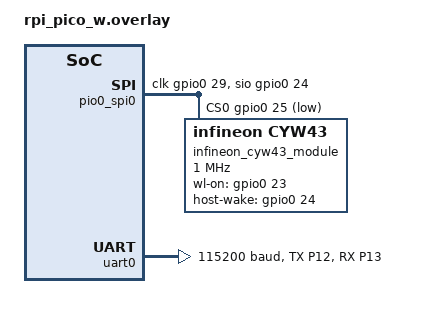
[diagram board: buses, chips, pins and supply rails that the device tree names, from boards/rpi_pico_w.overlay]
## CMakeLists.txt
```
# SPDX-License-Identifier: Apache-2.0

cmake_minimum_required(VERSION 3.20.0)

set_property(GLOBAL APPEND PROPERTY HEX_FILES_TO_MERGE
      ${app_provision_hex})

set(DTS_ROOT_BINDINGS "${CMAKE_CURRENT_SOURCE_DIR}")

#set(BOARD nrf52840dk_nrf52840)
set(BOARD rpi_pico_w)
#set(BOARD xiao_esp32c3)

find_package(Zephyr)
project(peripheral)

include_directories(app PRIVATE inc)

FILE(GLOB app_sources src/*.c)
target_sources(app PRIVATE
  ${app_sources}
  )

add_subdirectory_ifdef(CONFIG_BT_ZEPHYR_CYW43  drivers)

zephyr_compile_options(-save-temps)
```

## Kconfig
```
#
#
#
menu "RPI_PICO_W BT Options"
rsource "drivers/Kconfig"
endmenu

menu "Zephyr"
source "Kconfig.zephyr"
endmenu
```

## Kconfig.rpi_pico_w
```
# Copyright (c) 2024 Callender Consulting LLC.
# SPDX-License-Identifier: Apache-2.0
#

choice BT_HCI_BUS_TYPE
	default BT_PICO_W if BT
endchoice

rsource "./drivers/Kconfig"
```

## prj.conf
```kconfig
#------------------------------------------------

CONFIG_BT=y
CONFIG_BT_PERIPHERAL=y
CONFIG_BT_DIS=y
CONFIG_BT_DIS_PNP=n
CONFIG_BT_BAS=y
CONFIG_BT_DEVICE_APPEARANCE=768
CONFIG_CBPRINTF_FP_SUPPORT=y

CONFIG_BT_DEVICE_NAME="LongRanger"

CONFIG_BT_EXT_ADV=y
CONFIG_BT_USER_PHY_UPDATE=y

#------------------------------------------------
# Logging interface: UART or RTT.
# By default logging will be to UART.
# For RTT logging (JLink or Ozone), uncomment 
# indicated section below.
#
CONFIG_LOG=y
CONFIG_LOG_PRINTK=y

CONFIG_LOG_BACKEND_SHOW_COLOR=n
CONFIG_LOG_BACKEND_FORMAT_TIMESTAMP=n

# Uncomment this section for RTT support
CONFIG_USE_SEGGER_RTT=y
CONFIG_LOG_BACKEND_RTT=y
CONFIG_LOG_BACKEND_UART=n
```

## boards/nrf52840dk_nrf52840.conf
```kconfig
#------------------------------------------------
#CONFIG_BT_CTLR_PHY_CODED=y
#CONFIG_BT_CTLR_ADV_EXT=y
#CONFIG_BT_CTLR_CONN_RSSI=y

#------------------------------------------------
#CONFIG_TEMP_NRF5=y
```

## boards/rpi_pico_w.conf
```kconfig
#
CONFIG_BT_DRIVERS=y
CONFIG_BT_HCI=y
#CONFIG_BT_ZEPHYR_CYW43=y
CONFIG_BT_PICO_W=y
```

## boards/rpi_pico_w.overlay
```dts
/*
 *   RPI_PICO_W configured for BLE
 */

&pinctrl {

  pio0_spi0_default: pio0_spi0_default {
      /* gpio 25 is used for chip select, not assigned to the PIO */
    group1 {
      pinmux = <PIO0_P29>, <PIO0_P23>;
    };
  };

  uart0_default: uart0_default {
    group1 {
      pinmux = <UART0_TX_P12>;  // pin 16, GP12
    };
    group2 {
      pinmux = <UART0_RX_P13>;  // pin 17, GP13
      input-enable;
    };
  };
};

&pio0 {
  status = "okay";

  pio0_spi0: pio0_spi0 {
    pinctrl-0 = <&pio0_spi0_default>;
    pinctrl-names = "default";

    compatible = "custom_raspberrypi,pico-spi-pio";
    status = "okay";
    #address-cells = <1>;
    #size-cells = <0>;
    clocks = < &clk_sys >;
    cs-gpios = <&gpio0 25 GPIO_ACTIVE_LOW>;
    clk-gpios = <&gpio0 29 GPIO_ACTIVE_HIGH>;
    sio-gpios = <&gpio0 24 GPIO_ACTIVE_HIGH>;
    
    infineon_cyw43_module: infineon_cyw43_module@0 {
      compatible = "infineon,cyw43";
      reg = < 0x0 >;
      spi-max-frequency = < 1000000 >;
      wl-on-gpios = < &gpio0 23 GPIO_ACTIVE_HIGH >;
      host-wake-gpios = <&gpio0 24 GPIO_ACTIVE_HIGH>; 

      cyw43_led: cyw43_led {    /* Pico W LED is on CYW43439 GPIO 0 */
        compatible = "infineon,cyw43_led";
      };
      cyw43_gpio: cyw43_gpio {
        compatible = "infineon,cyw43_gpio";
      };
    };
  };
};

&uart0 {
  current-speed = <115200>;
  status = "okay";
  pinctrl-0 = <&uart0_default>;
  pinctrl-names = "default";
};
```

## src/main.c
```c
/* main.c - Application main entry point */

/*
 * Copyright (c) 2019 Aaron Tsui <aaron.tsui@outlook.com>
 *
 * SPDX-License-Identifier: Apache-2.0
 */

#include <zephyr/types.h>
#include <stddef.h>
#include <string.h>
#include <errno.h>
#include <zephyr/sys/printk.h>
#include <zephyr/sys/byteorder.h>
#include <zephyr/kernel.h>

#include <zephyr/bluetooth/bluetooth.h>
#include <zephyr/bluetooth/hci.h>
#include <zephyr/bluetooth/conn.h>
#include <zephyr/bluetooth/uuid.h>
#include <zephyr/bluetooth/gatt.h>
#include <zephyr/bluetooth/services/bas.h>
#include <zephyr/bluetooth/hci_vs.h>

#include "hts.h"

#define LOG_LEVEL 3
#include <zephyr/logging/log.h>
LOG_MODULE_REGISTER(main);

/*---------------------------------------------------------------------------*/
/*                                                                           */
/*---------------------------------------------------------------------------*/

#define DEVICE_NAME             CONFIG_BT_DEVICE_NAME
#define DEVICE_NAME_LEN         (sizeof(DEVICE_NAME) - 1)

static const struct bt_data ad[] = {
	BT_DATA_BYTES(BT_DATA_FLAGS, (BT_LE_AD_GENERAL | BT_LE_AD_NO_BREDR)),
	BT_DATA_BYTES(BT_DATA_UUID16_ALL,
		      BT_UUID_16_ENCODE(BT_UUID_HTS_VAL),
		      BT_UUID_16_ENCODE(BT_UUID_DIS_VAL),
		      BT_UUID_16_ENCODE(BT_UUID_BAS_VAL)),
	BT_DATA(BT_DATA_NAME_COMPLETE, DEVICE_NAME, DEVICE_NAME_LEN)
};

static void start_advertising_coded(struct k_work *work);

static K_WORK_DEFINE(start_advertising_worker, start_advertising_coded);

static struct bt_le_ext_adv *adv;

static struct bt_conn *default_conn;
static uint16_t default_conn_handle;

/*---------------------------------------------------------------------------*/
/*                                                                           */
/*---------------------------------------------------------------------------*/
static void read_conn_rssi(uint16_t handle, int8_t *rssi)
{
	struct net_buf *buf;
	struct net_buf *rsp = NULL;
	struct bt_hci_cp_read_rssi *cp;
	struct bt_hci_rp_read_rssi *rp;

	uint8_t reason;
	int err;

	buf = bt_hci_cmd_create(BT_HCI_OP_READ_RSSI, sizeof(*cp));
	if (!buf) {
		LOG_INF("Unable to allocate command buffer");
		return;
	}

	cp = net_buf_add(buf, sizeof(*cp));
	cp->handle = sys_cpu_to_le16(handle);

	err = bt_hci_cmd_send_sync(BT_HCI_OP_READ_RSSI, buf, &rsp);
	if (err) {
		reason = rsp ? ((struct bt_hci_rp_read_rssi *)rsp->data)->status : 0;
		LOG_INF("Read RSSI err: %d reason 0x%02X", err, reason);
		return;
	}

	rp = (void *)rsp->data;
	*rssi = rp->rssi;

	net_buf_unref(rsp);
}

/*---------------------------------------------------------------------------*/
/*                                                                           */
/*---------------------------------------------------------------------------*/
int8_t get_rssi(void)
{
	int8_t rssi = 0xFF;

	read_conn_rssi(default_conn_handle, &rssi);

	return rssi;
}

/*---------------------------------------------------------------------------*/
/*                                                                           */
/*---------------------------------------------------------------------------*/
static void connected(struct bt_conn * conn, uint8_t conn_err)
{
	int err;
	struct bt_conn_info info;
	char addr[BT_ADDR_LE_STR_LEN];

	if (conn_err) {
		LOG_ERR("Connection failed (err 0x%02X)", conn_err);
		return;
	}

	LOG_INF("Connected");

	default_conn = bt_conn_ref(conn);
	err = bt_hci_get_conn_handle(default_conn, &default_conn_handle);
	if (err) {
		LOG_ERR("No connection handle: %d", err);
	}

	err = bt_conn_get_info(conn, &info);
	if (err) {
		LOG_ERR("Failed to get connection info: %d", err);
	} 
	else {
		const struct bt_conn_le_phy_info *phy_info;
		phy_info = info.le.phy;

		LOG_INF("Connected: %s, tx_phy %u, rx_phy %u",
		       addr, phy_info->tx_phy, phy_info->rx_phy);
	}
}

/*---------------------------------------------------------------------------*/
/*                                                                           */
/*---------------------------------------------------------------------------*/
static void disconnected(struct bt_conn *conn, uint8_t reason)
{
	LOG_WRN("Disconnected (reason 0x%02X)", reason);
}

/*---------------------------------------------------------------------------*/
/*                                                                           */
/*---------------------------------------------------------------------------*/
static void le_phy_updated(struct bt_conn *conn,
			   struct bt_conn_le_phy_info *param)
{
	char addr[BT_ADDR_LE_STR_LEN];

	bt_addr_le_to_str(bt_conn_get_dst(conn), addr, sizeof(addr));

	LOG_INF("LE PHY Updated: %s Tx 0x%X, Rx 0x%X", 
		    addr, param->tx_phy, param->rx_phy);
}

/*---------------------------------------------------------------------------*/
/*                                                                           */
/*---------------------------------------------------------------------------*/

BT_CONN_CB_DEFINE(conn_callbacks) = {
	.connected = connected,
	.disconnected = disconnected,
	.le_phy_updated = le_phy_updated,
};

/*---------------------------------------------------------------------------*/
/*                                                                           */
/*---------------------------------------------------------------------------*/
static int create_advertising_coded(void)
{
	int err;

	struct bt_le_adv_param param =
		BT_LE_ADV_PARAM_INIT(BT_LE_ADV_OPT_CONNECTABLE |
				     BT_LE_ADV_OPT_EXT_ADV |
				     BT_LE_ADV_OPT_CODED,
				     BT_GAP_ADV_FAST_INT_MIN_2,
				     BT_GAP_ADV_FAST_INT_MAX_2,
				     NULL);

	err = bt_le_ext_adv_create(&param, NULL, &adv);
	if (err) {
		LOG_ERR("Failed to create advertiser set: %d", err);
		return err;
	}

	LOG_INF("Created extended advertising");

	err = bt_le_ext_adv_set_data(adv, ad, ARRAY_SIZE(ad), NULL, 0);
	if (err) {
		LOG_ERR("Failed to set advertising data: %d", err);
		return err;
	}

	return 0;
}

/*---------------------------------------------------------------------------*/
/*                                                                           */
/*---------------------------------------------------------------------------*/
static void start_advertising_coded(struct k_work * work)
{
	int err;

	err = bt_le_ext_adv_start(adv, NULL);
	if (err) {
		LOG_ERR("Failed to start advertising set: %d", err);
		return;
	}

	LOG_INF("Advertiser set started");
}

/*---------------------------------------------------------------------------*/
/*                                                                           */
/*---------------------------------------------------------------------------*/
static void bas_notify(void)
{
	uint8_t battery_level = bt_bas_get_battery_level();

	battery_level--;

	if (!battery_level) {
		battery_level = 100U;
	}

	bt_bas_set_battery_level(battery_level);
}

/*---------------------------------------------------------------------------*/
/*                                                                           */
/*---------------------------------------------------------------------------*/
int main(void)
{
	int err;

	err = bt_enable(NULL);
	if (err) {
		LOG_ERR("Bluetooth init failed: %d", err);
		return err;
	}

	err = create_advertising_coded();
	if (err) {
		LOG_ERR("Advertising failed to create: %d", err);
		return err;
	}

	LOG_INF("Bluetooth initialized as Peripheral advertising as \"%s\"",
		    DEVICE_NAME);

	k_work_submit(&start_advertising_worker);

	/* Implement indicate. At the moment there is no suitable way
	 * of starting delayed work so we do it here
	 */
	while (1) {
		k_sleep(K_SECONDS(1));

		/* Temperature measurements simulation */
		hts_indicate();

		/* Battery level simulation */
		bas_notify();
	}
	return 0;
}
```

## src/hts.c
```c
/** @file
 *  @brief HTS Service sample (Long-Range)
 */

/*
 * Copyright (c) 2020 SixOctets Systems
 * Copyright (c) 2019 Aaron Tsui <aaron.tsui@outlook.com>
 *
 * SPDX-License-Identifier: Apache-2.0
 */
#include <stdio.h>
#include <stddef.h>
#include <string.h>
#include <errno.h>

#include <zephyr/kernel.h>
#include <zephyr/drivers/sensor.h>
#include <zephyr/sys/printk.h>
#include <zephyr/sys/byteorder.h>

#include <zephyr/bluetooth/bluetooth.h>
#include <zephyr/bluetooth/hci.h>
#include <zephyr/bluetooth/conn.h>
#include <zephyr/bluetooth/uuid.h>
#include <zephyr/bluetooth/gatt.h>

#define LOG_LEVEL 3
#include <zephyr/logging/log.h>
LOG_MODULE_REGISTER(hts);

/*---------------------------------------------------------------------------*/
/*                                                                           */
/*---------------------------------------------------------------------------*/

#ifdef CONFIG_TEMP_NRF5
static const struct device *temp_dev = DEVICE_DT_GET_ANY(nordic_nrf_temp);
#else
static const struct device *temp_dev;
#endif

static uint8_t simulate_htm;
static uint8_t indicating;
static struct bt_gatt_indicate_params ind_params;

int8_t get_rssi(void);

/*---------------------------------------------------------------------------*/
/*                                                                           */
/*---------------------------------------------------------------------------*/
static void htmc_ccc_cfg_changed(const struct bt_gatt_attr *attr,
				 uint16_t value)
{
	simulate_htm = (value == BT_GATT_CCC_INDICATE) ? 1 : 0;
}

/*---------------------------------------------------------------------------*/
/*                                                                           */
/*---------------------------------------------------------------------------*/
static void indicate_cb(struct bt_conn *conn,
			struct bt_gatt_indicate_params *params, uint8_t err)
{
#if 0
	LOG_INF("Indication %s", err != 0U ? "fail" : "success");
#endif
}

/*---------------------------------------------------------------------------*/
/*                                                                           */
/*---------------------------------------------------------------------------*/
static void indicate_destroy(struct bt_gatt_indicate_params *params)
{
#if 0
	LOG_INF("Indication complete");
#endif	
	indicating = 0U;
}

/*---------------------------------------------------------------------------*/
/*                                                                           */
/*---------------------------------------------------------------------------*/
/* Health Thermometer Service Declaration */
BT_GATT_SERVICE_DEFINE(hts_svc,
	BT_GATT_PRIMARY_SERVICE(BT_UUID_HTS),
	BT_GATT_CHARACTERISTIC(BT_UUID_HTS_MEASUREMENT, BT_GATT_CHRC_INDICATE,
			               BT_GATT_PERM_NONE, NULL, NULL, NULL),
	BT_GATT_CCC(htmc_ccc_cfg_changed,
		        BT_GATT_PERM_READ | BT_GATT_PERM_WRITE),
	/* more optional Characteristics */
);

/*---------------------------------------------------------------------------*/
/*                                                                           */
/*---------------------------------------------------------------------------*/
void hts_init(void)
{
	if (temp_dev == NULL || !device_is_ready(temp_dev)) {
		LOG_INF("no temperature device; using simulated data");
		temp_dev = NULL;
	} else {
		LOG_INF("temp device is %p, name is %s", temp_dev, temp_dev->name);
	}
}

/*---------------------------------------------------------------------------*/
/*                                                                           */
/*---------------------------------------------------------------------------*/
void hts_indicate(void)
{
	/* Temperature measurements simulation */
	struct sensor_value temp_value;

	if (simulate_htm) {
		static uint8_t htm[5];
		static double temperature = 20U;
		uint32_t mantissa;
		uint8_t exponent;
		int r;

		if (indicating) {
			return;
		}

		if (!temp_dev) {
			temperature++;
			if (temperature == 30U) {
				temperature = 20U;
			}

			goto gatt_indicate;
		}

		r = sensor_sample_fetch(temp_dev);
		if (r) {
			LOG_ERR("sensor_sample_fetch failed return: %d", r);
		}

		r = sensor_channel_get(temp_dev, SENSOR_CHAN_DIE_TEMP,
				       &temp_value);
		if (r) {
			LOG_ERR("sensor_channel_get failed return: %d", r);
		}

		temperature = sensor_value_to_double(&temp_value);

gatt_indicate:
		LOG_INF("temperature is %gC -- RSSI %ddB", temperature, get_rssi());

		mantissa = (uint32_t)(temperature * 100);
		exponent = (uint8_t)-2;

		htm[0] = 0; /* temperature in celsius */
		sys_put_le24(mantissa, (uint8_t *)&htm[1]);
		htm[4] = exponent;

		ind_params.attr = &hts_svc.attrs[2];
		ind_params.func = indicate_cb;
		ind_params.destroy = indicate_destroy;
		ind_params.data = &htm;
		ind_params.len = sizeof(htm);

		if (bt_gatt_indicate(NULL, &ind_params) == 0) {
			indicating = 1U;
		}
	}
}
```
